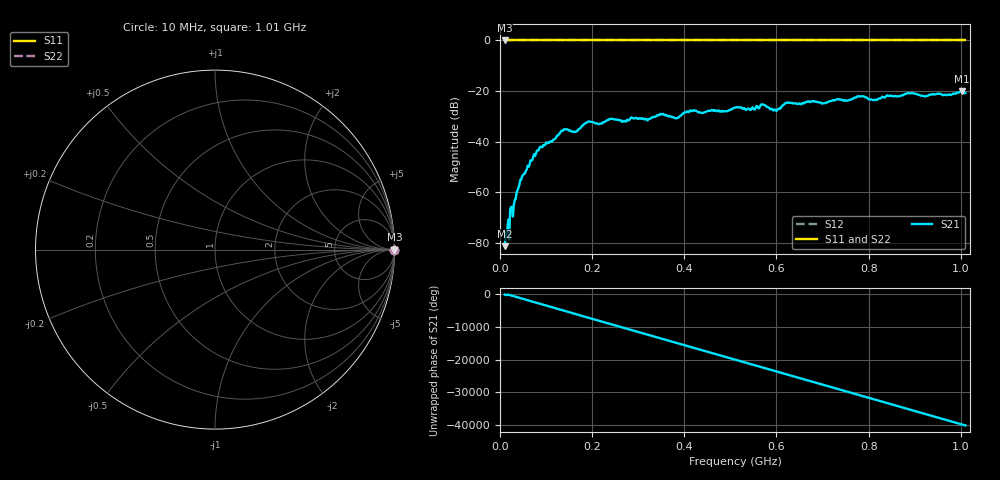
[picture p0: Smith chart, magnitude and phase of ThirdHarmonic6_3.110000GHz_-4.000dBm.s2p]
! 8/17/2025 9:11:55 AM
! C:\ANRITSUVNA\TEMP\TEMP.S2P
! CHANNEL.1
! TR.MEASUREMENT
! RAW.DATA
! RF.CORRECTION.OFF
! AVERAGING.OFF
! IF.BANDWIDTH: 5KHZ
! SWEEPTYPE:  FREQ.SWEEP(Linear)
! Reference Plane Port Info
! PORT:  PORT1  PORT2
! DISTANCE:  0  m  0  m
! TIME:  0  s  0  s
! PHASE.OFFSET:  0  deg.  0  deg.
! LOSS:  0  dB  0  dB
! REF.LOSS:  0  dB  0  dB
! REF.FREQ:  0  Hz  0  Hz
! Power Info
! POWER:  -20  dBm  -20  dBm
! EFF.POWER:  -20  dBm  -20  dBm
! SOURCE.ATTEN:  0  dB  0  dB
! TEST.ATTEN:  0  dB  0  dB
# GHZ S RI R 50.0
! FREQ.GHZ  S11RE  S11IM  S21RE  S21IM  S12RE  S12IM  S22RE  S22IM
!; PortSelection: Port_12
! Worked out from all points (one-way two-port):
!   501 points, 10 MHz to 1.01 GHz, reference 50 ohm
!   highest |S21| = -20.16 dB at 1.002 GHz (marker M1); lowest = -81.3 dB at 10 MHz (marker M2)
!   lowest |S11| = 0.0 dB at 10 MHz (marker M3)
!   |S11| at or under -10 dB: nowhere
!   |S22| runs from 0.0 to 0.0 dB; largest |S21 - S12| = 1.1
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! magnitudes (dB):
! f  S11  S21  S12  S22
! 10 MHz  0.0  -81.3  0.0  0.0
! 16 MHz  0.0  -74.4  0.0  0.0
! 26 MHz  0.0  -65.8  0.0  0.0
! 44 MHz  0.0  -55.1  0.0  0.0
! 76 MHz  0.0  -45.7  0.0  0.0
! 136 MHz  0.0  -35.8  0.0  0.0
! 164 MHz  0.0  -36.1  0.0  0.0
! 178 MHz  0.0  -33.8  0.0  0.0
! 192 MHz  0.0  -32.0  0.0  0.0
! 322 MHz  0.0  -31.2  0.0  0.0
! 344 MHz  0.0  -29.6  0.0  0.0
! 382 MHz  0.0  -30.8  0.0  0.0
! 416 MHz  0.0  -27.9  0.0  0.0
! 510 MHz  0.0  -26.5  0.0  0.0
! 570 MHz  0.0  -25.3  0.0  0.0
! 596 MHz  0.0  -27.3  0.0  0.0
! 624 MHz  0.0  -24.5  0.0  0.0
! 678 MHz  0.0  -24.0  0.0  0.0
! 814 MHz  0.0  -23.4  0.0  0.0
! 844 MHz  0.0  -22.0  0.0  0.0
! 1.002 GHz  0.0  -20.2  0.0  0.0
! 1.01 GHz  0.0  -20.8  0.0  0.0
